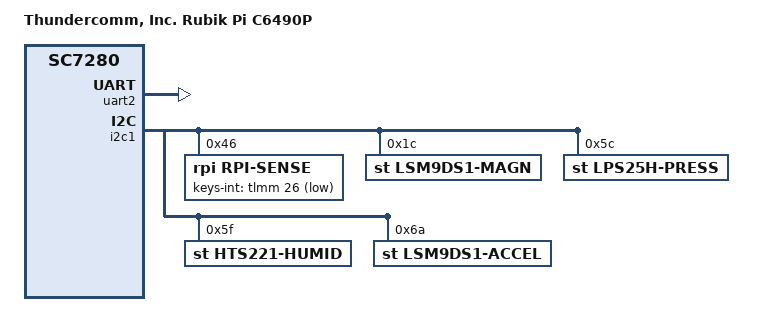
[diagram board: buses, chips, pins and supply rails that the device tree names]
// SPDX-License-Identifier: BSD-3-Clause
/*
 * Turbox C6490P devkit device tree source
 * This file inherits from qcm6490-addons-idp.dts
 *
 * Copyright (c) 2024 Thundercomm, Inc. All rights reserved.
 *
 */

/dts-v1/;

#include "turbox-c6490p-devkit.dtsi"

/ {
	model = "Thundercomm, Inc. Rubik Pi C6490P";
	compatible = "qcom,qcm6490-addons-idp","qcom,sc7280";
};


&uart2 {
	status = "okay";
};

&i2c1 {
	status = "okay";

	rpi-sense@46 {
		compatible = "rpi,rpi-sense";
		reg = <0x46>;
		keys-int-gpios = <&tlmm 26 1>;
		status = "okay";
	};

	lsm9ds1-magn@1c {
		compatible = "st,lsm9ds1-magn";
		reg = <0x1c>;
		status = "okay";
	};

	lps25h-press@5c {
		compatible = "st,lps25h-press";
		reg = <0x5c>;
		status = "okay";
	};

	hts221-humid@5f {
		compatible = "st,hts221-humid", "st,hts221";
		reg = <0x5f>;
		status = "okay";
	};

	lsm9ds1-accel@6a {
		compatible = "st,lsm9ds1-accel";
		reg = <0x6a>;
		status = "okay";
	};
};

&spi12 {
	status = "disabled";
};
